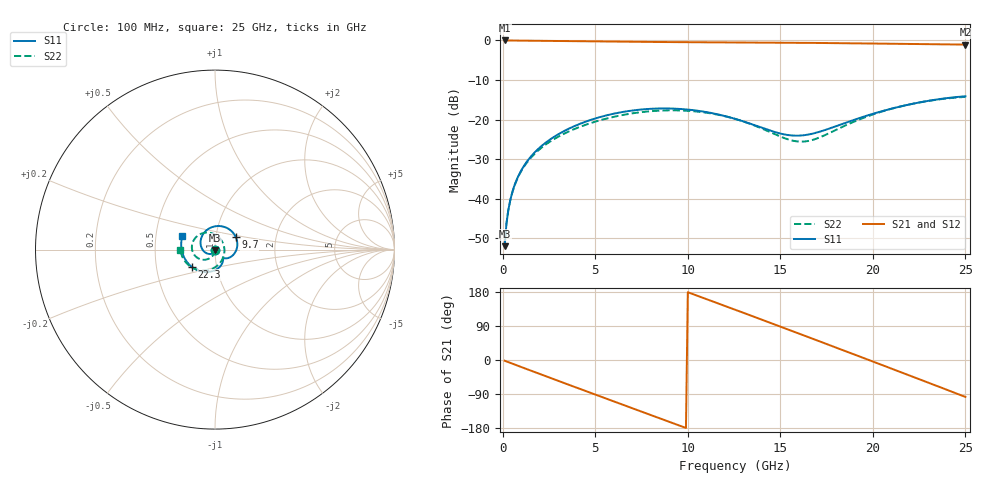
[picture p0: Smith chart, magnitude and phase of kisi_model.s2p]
! kisi X_s8x2_L1L3_bd_d200: fast channel model (formula impedances, via model), up to 25 GHz
# Hz S RI R 50
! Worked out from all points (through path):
!   250 points, 100 MHz to 25 GHz, reference 50 ohm
!   highest |S21| = -0.01 dB at 100 MHz (marker M1); lowest = -1.1 dB at 25 GHz (marker M2)
!   group delay of S21, straight-line fit = 50.6 ps
!   lowest |S11| = -52.0 dB at 100 MHz (marker M3), VSWR 1.01, Z = 50 - j0.248 ohm
!   |S11| at or under -10 dB: start of sweep to end of sweep
!   |S22| runs from -52.0 to -14.3 dB; largest |S21 - S12| = 0
!   S11 on the Smith chart (normalised r, x): 100 MHz: 1.00, -0.00; 9.7 GHz: 1.24, +0.18; 22.3 GHz: 0.76, -0.15; 25 GHz: 0.69, +0.11
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1e8  0.000346 -0.00248  0.9983 -0.0332  0.9983 -0.0332  0.000411 -0.00247
2e8  -0.000121 -0.00482  0.9961 -0.0658  0.9961 -0.0658  0.000138 -0.00482
4e8  -0.00173 -0.00925  0.9886 -0.1301  0.9886 -0.1301  -0.000698 -0.00934
7e8  -0.00569 -0.0151  0.9698 -0.2246  0.9698 -0.2246  -0.00257 -0.0157
1.1e9  -0.0134 -0.021  0.9311 -0.3462  0.9311 -0.3462  -0.00604 -0.0236
2.8e9  -0.0598 -0.0116  0.6139 -0.7693  0.6139 -0.7693  -0.0301 -0.0484
4.3e9  -0.0806 0.0415  0.193 -0.9567  0.193 -0.9567  -0.0603 -0.0568
6.2e9  -0.0364 0.1155  -0.3754 -0.8896  -0.3754 -0.8896  -0.102 -0.0429
8.4e9  0.0711 0.1179  -0.8464 -0.4421  -0.8464 -0.4421  -0.1289 0.00971
9.7e9  0.1148 0.0718  -0.9473 -0.0701  -0.9473 -0.0701  -0.1203 0.0491
1.11e10  0.1225 0.0105  -0.8832 0.3384  -0.8832 0.3384  -0.0879 0.083
1.26e10  0.0946 -0.0358  -0.6296 0.7013  -0.6296 0.7013  -0.0358 0.0946
1.37e10  0.0679 -0.0481  -0.3509 0.8719  -0.3509 0.8719  0.00348 0.0822
1.47e10  0.0505 -0.0476  -0.06 0.9354  -0.06 0.9354  0.0322 0.0567
1.67e10  0.0444 -0.0487  0.5071 0.7799  0.5071 0.7799  0.052 -0.0174
1.78e10  0.0439 -0.0658  0.7419 0.5528  0.7419 0.5528  0.0384 -0.0586
1.89e10  0.0294 -0.093  0.8822 0.259  0.8822 0.259  0.00978 -0.0916
1.99e10  -0.00245 -0.1161  0.9131 -0.0345  0.9131 -0.0345  -0.0258 -0.1107
2.09e10  -0.0509 -0.1252  0.8491 -0.3213  0.8491 -0.3213  -0.0665 -0.1169
2.23e10  -0.1283 -0.0968  0.6158 -0.6557  0.6158 -0.6557  -0.1241 -0.1019
2.37e10  -0.1816 -0.0185  0.261 -0.8527  0.261 -0.8527  -0.1709 -0.0598
2.5e10  -0.1813 0.0762  -0.1148 -0.8782  -0.1148 -0.8782  -0.1931 -0.0018
